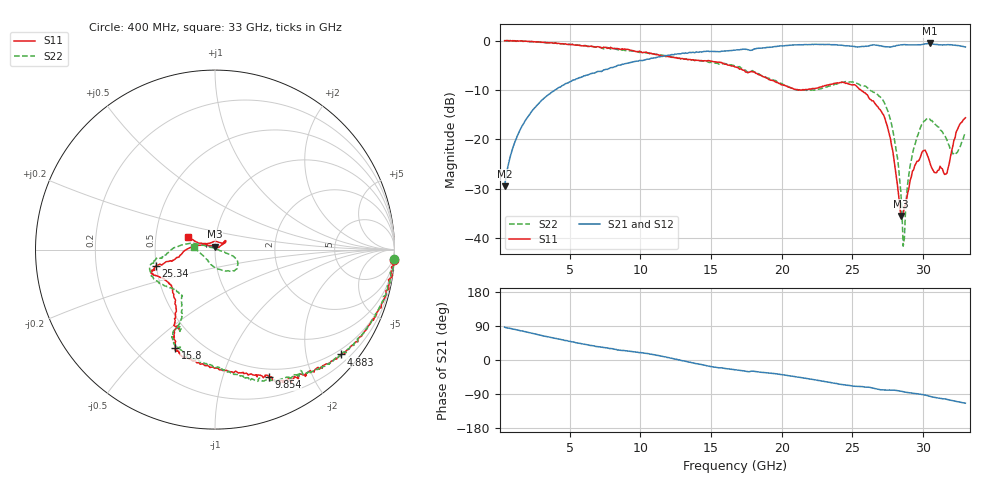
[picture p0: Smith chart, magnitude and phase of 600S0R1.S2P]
!  American Technical Ceramics  Date:  10/26/00
!  One Norden Lane
!  Huntington Station,  NY.  11746-2102
!  Tel:  (631) 622-4700  Fax:  (631) 622-4748
!  Part Number  600S0R1BW  Mounting Orientation: Horizontal
!  Description: Ultra Low ESR Microwave capacitors
!  Application: Coupling, Bypass, Tuning, DC Block
!  Filters, Matching
# GHZ S DB R 50
! Freq  |S11|  S11 Ph  |S21|  S21 Ph  |S12|  S12 Ph  |S22|  S22 Ph
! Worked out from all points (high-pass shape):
!   401 points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, 400 MHz to 33 GHz, reference 50 ohm
!   highest |S21| = -0.57 dB at 30.47 GHz (marker M1); lowest = -29.5 dB at 400 MHz (marker M2)
!   |S21| within 3 dB of the highest: 10.87 GHz to end of sweep
!   lowest |S11| = -35.5 dB at 28.44 GHz (marker M3), VSWR 1.03, Z = 49.9 + j1.66 ohm
!   |S11| at or under -10 dB: 21.15567 GHz to 21.2478 GHz (92.13 MHz wide, 0.435 % of centre); 21.28 GHz to 21.46 GHz (181.1 MHz wide, 0.848 % of centre); 25.59 GHz to end of sweep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
!   |S22| runs from -41.7 to 0.0 dB; largest |S21 - S12| = 0.014
!   S11 on the Smith chart (normalised r, x): 400 MHz: 1, -34; 4.883 GHz: 0.39, -2.71; 9.854 GHz: 0.41, -1.43; 15.8 GHz: 0.36, -0.61; 25.34 GHz: 0.50, -0.10; 33 GHz: 0.73, +0.11
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0.4  -0.02 -3.4  -29.54 86.7  -29.54 86.4  -0.01 -3.0
1.949  -0.14 -15.8  -15.86 73.9  -15.89 73.7  -0.23 -15.6
4.883  -0.79 -39.8  -8.59 50.3  -8.57 49.5  -0.80 -39.6
5.861  -1.06 -46.7  -7.38 42.7  -7.40 42.5  -0.99 -46.6
9.854  -2.28 -67.2  -4.16 19.9  -4.17 19.6  -2.31 -70.5
11.321  -2.97 -75.8  -3.31 11.5  -3.39 11.0  -2.90 -78.7
15.804  -4.55 -111.9  -2.16 -21.0  -2.17 -21.4  -4.70 -110.2
16.7  -5.34 -114.8  -1.96 -25.5  -1.97 -25.9  -5.16 -115.4
22.161  -9.72 -149.0  -0.75 -51.0  -0.74 -51.0  -9.98 -133.8
25.339  -9.35 -164.6  -1.32 -69.7  -1.30 -69.7  -8.68 -167.0
27.051  -14.34 -171.4  -1.08 -78.5  -1.11 -78.7  -11.67 -176.3
27.621  -19.01 169.0  -1.31 -79.2  -1.29 -79.6  -15.28 170.4
28.11  -27.67 147.1  -1.02 -80.2  -1.02 -80.3  -22.36 161.4
28.436  -35.55 94.2  -0.87 -82.2  -0.86 -82.4  -30.80 154.2
28.681  -33.76 35.1  -0.82 -84.2  -0.83 -84.2  -40.16 19.0
29.007  -29.90 33.2  -0.89 -86.2  -0.90 -86.5  -27.14 -16.6
29.414  -25.37 34.1  -0.87 -88.5  -0.88 -88.3  -21.30 -17.2
30.066  -22.30 38.2  -0.75 -91.8  -0.75 -91.9  -16.36 -32.7
30.474  -24.63 36.6  -0.57 -95.8  -0.55 -95.8  -15.90 -47.4
31.615  -27.07 119.4  -0.88 -103.1  -0.86 -103.2  -19.66 -86.5
32.267  -19.73 157.9  -0.95 -108.7  -0.95 -108.9  -23.15 -138.0
33  -15.65 154.1  -1.31 -114.0  -1.30 -114.1  -18.74 173.6
